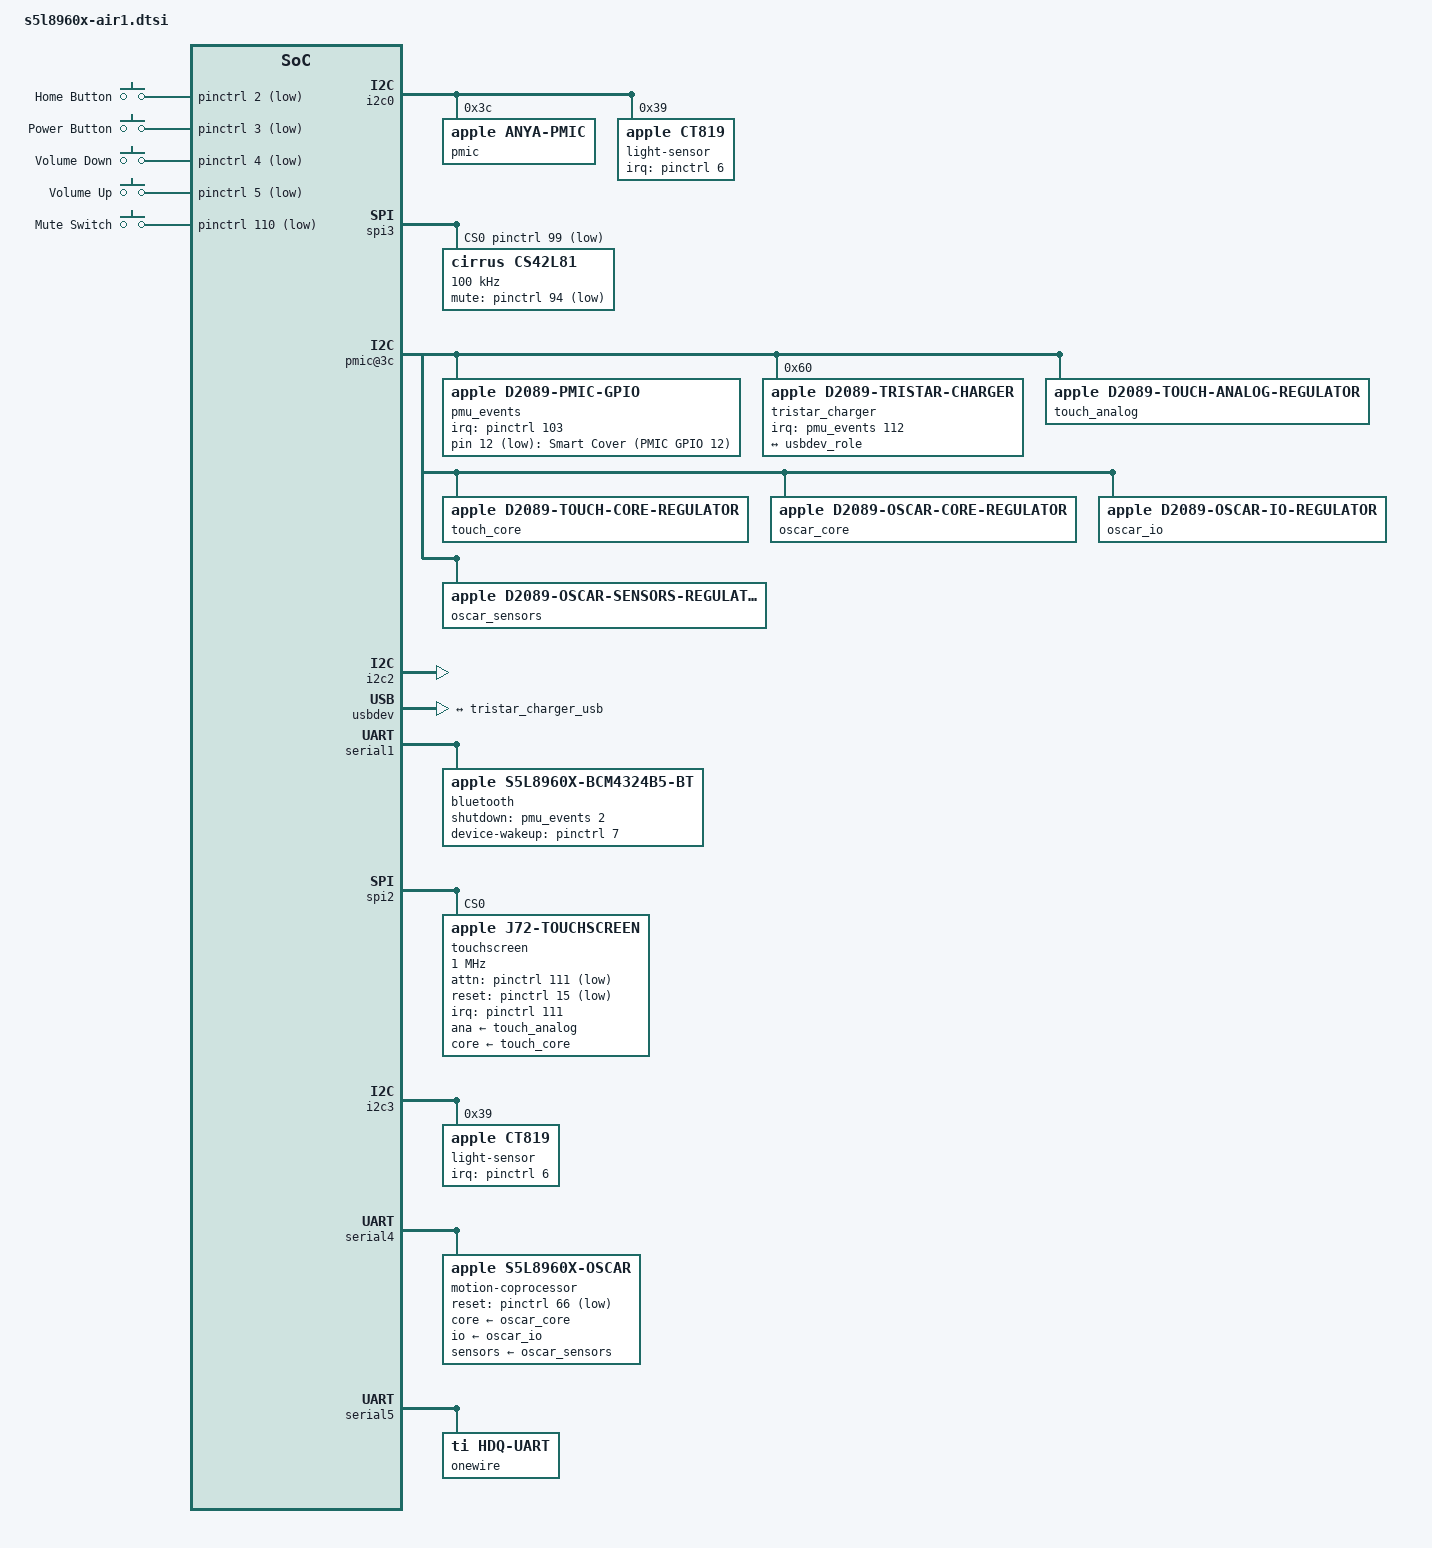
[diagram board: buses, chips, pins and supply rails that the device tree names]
// SPDX-License-Identifier: GPL-2.0+ OR MIT
/*
 * Apple iPad Air  common device tree
 * Based on A7 (APL5698), up to 1.4GHz
 *
 * Copyright (c) 2022, Konrad Dybcio <konradybcio@kernel.org>
 */

#include "s5l8960x.dtsi"
#include "s5l8960x-common.dtsi"
#include "s5l8965x-opp.dtsi"
#include <dt-bindings/input/input.h>

/ {
	chassis-type = "tablet";

	/*
	 * The speakers and the built-in microphones: the CS42L81 on SPI3
	 * (control) and MCA0 (data), as in Apple's /arm-io/spi3/audio-codec
	 * and /arm-io/mca0/audio-codec. The codec drives both speakers as one
	 * stereo pair. The two microphones are digital ones on the codec's
	 * DMIC1 pair: the audio-codec node names them dmic1a-intmic ("imic")
	 * and dmic1b-intmic ("smic"), the same in the J71 and J72 trees and
	 * the same pair the iPad 5 records from. Headphones (ADT hpout-hp,
	 * with the headset switches ext_sw1 and ext_sw2) are not described
	 * yet.
	 */
	sound {
		compatible = "simple-audio-card";
		simple-audio-card,name = "iPad Air Speakers";
		simple-audio-card,format = "i2s";
		simple-audio-card,bitclock-master = <&codec_dai>;
		simple-audio-card,frame-master = <&codec_dai>;
		simple-audio-card,widgets = "Speaker", "Speakers",
					    "Microphone", "Internal Mic";
		simple-audio-card,routing = "Speakers", "SPKOUT",
					    "DMIC1A", "Internal Mic",
					    "DMIC1B", "Internal Mic";
		simple-audio-card,pin-switches = "Speakers";

		simple-audio-card,cpu {
			sound-dai = <&mca0>;
		};

		codec_dai: simple-audio-card,codec {
			sound-dai = <&cs42l81>;
		};
	};

	gpio-keys {
		compatible = "gpio-keys";

		button-home {
			label = "Home Button";
			gpios = <&pinctrl 2 GPIO_ACTIVE_LOW>;
			linux,code = <KEY_HOMEPAGE>;
			wakeup-source;
		};

		button-power {
			label = "Power Button";
			gpios = <&pinctrl 3 GPIO_ACTIVE_LOW>;
			linux,code = <KEY_POWER>;
			wakeup-source;
		};

		button-voldown {
			label = "Volume Down";
			gpios = <&pinctrl 4 GPIO_ACTIVE_LOW>;
			linux,code = <KEY_VOLUMEDOWN>;
		};

		button-volup {
			label = "Volume Up";
			gpios = <&pinctrl 5 GPIO_ACTIVE_LOW>;
			linux,code = <KEY_VOLUMEUP>;
		};

		switch-mute {
			label = "Mute Switch";
			gpios = <&pinctrl 110 GPIO_ACTIVE_LOW>;
			linux,code = <KEY_MUTE>;
		};
	};

	/*
	 * Smart Cover hall sensors: D2089 GPIO 12 ("halleffect") and 10
	 * ("halleffect1") in the ADT /buttons node, the same lines as on the
	 * iPad Air 2. Line 12 is reported, active low as on the Air 2 and the
	 * iPad 6: on a J71 it reads low while the cover is closed and high
	 * while it is open. Reported as SW_MACHINE_COVER, not as a lid
	 * switch, so that closing the cover doesn't suspend the system.
	 * Polled: which PMU event a line raises is not established on the
	 * D2089, so the cover doesn't wake the system.
	 */
	smart-cover {
		compatible = "gpio-keys-polled";
		poll-interval = <50>;
		label = "iPad Smart Cover";

		cover-switch {
			label = "Smart Cover (PMIC GPIO 12)";
			gpios = <&pmu_events 12 GPIO_ACTIVE_LOW>;
			linux,input-type = <EV_SW>;
			linux,code = <SW_MACHINE_COVER>;
			debounce-interval = <50>;
		};
	};
};

&framebuffer0 {
	power-domains = <&ps_disp0 &ps_dp>;
};

&i2c0 {
	status = "okay";

	pmic@3c {
		compatible = "apple,anya-pmic", "apple,i2c-pmic";
		reg = <0x3c>;
		#address-cells = <1>;
		#size-cells = <1>;

		rtc@5c0 {
			compatible = "apple,anya-pmic-rtc", "apple,amber-pmic-rtc";
			reg = <0x5c0 0x10>;
			nvmem-cells = <&rtc_offset>;
			nvmem-cell-names = "rtc_offset";
		};

		backlight@600 {
			compatible = "apple,anya-pmic-bl";
			reg = <0x600 0x2>;
		};

		nvmem@4000 {
			compatible = "apple,pmic-nvmem";
			reg = <0x4000 0x28>;

			nvmem-layout {
				compatible = "fixed-layout";
				#address-cells = <1>;
				#size-cells = <1>;

				rtc_offset: rtc-offset@4 {
					reg = <0x4 0x4>;
				};
			};
		};
	};
};

&spi3 {
	/* ADT function-spi_cs0 */
	cs-gpios = <&pinctrl 99 GPIO_ACTIVE_LOW>;
	status = "okay";

	cs42l81: audio-codec@0 {
		compatible = "cirrus,cs42l81";
		reg = <0>;
		spi-max-frequency = <100000>;
		clocks = <&mca0>;
		clock-names = "mclk";
		/* ADT function-spkr_mute */
		mute-gpios = <&pinctrl 94 GPIO_ACTIVE_LOW>;
		cirrus,speaker-max-gain = <(-300)>;
		#sound-dai-cells = <0>;
	};
};

/*
 * Lightning charging, at the D2089's registers as iOS 12
 * AppleD2089PMUPowerSource uses them: connection and charger state at
 * 0x60, the input-current limit at 0x4c0, the ADC at 0x500.
 */
&{/soc/i2c@20a110000/pmic@3c} {
	/* The PMU event line, from the ADT pmu node: AP GPIO 103. */
	pmu_events: interrupt-controller {
		compatible = "apple,d2089-pmic-gpio";
		interrupt-controller;
		#interrupt-cells = <2>;
		interrupts-extended = <&pinctrl 103 IRQ_TYPE_LEVEL_LOW>;
		gpio-controller;
		#gpio-cells = <2>;
		/*
		 * Of the 17 lines only the Bluetooth power enable (2) and the
		 * Smart Cover hall sensors, 10 and 12, are exposed. The others
		 * stay as iBoot left them: the Wi-Fi reset (3, apple-a7-wlan
		 * owns it), the battery gauge (5) and, on the cellular boards,
		 * the baseband's (4, 8, 16), by Apple's device trees.
		 */
		gpio-reserved-ranges = <0 2>, <3 7>, <11 1>, <13 4>;
	};

	/*
	 * The ADT's charger node allows 0x960 = 2400 mA of input on every iPad Air.
	 * The maximum here is the highest input limit measured on an A7
	 * so far: 1500 mA (0x72) charged an iPad mini 2's battery at +958 mA
	 * from a Mac's CDP port, at 31 C. Before that, 1050 mA (0x4e)
	 * charged a J72's battery at +279 to +423 mA under the desktop, at
	 * 36 C, in thisiscamk's ten-minute run.
	 */
	tristar_charger: charger@60 {
		compatible = "apple,d2089-tristar-charger";
		reg = <0x60 0x0d>, <0x4c0 0x01>, <0x500 0x04>;
		reg-names = "status", "control", "adc";
		interrupt-parent = <&pmu_events>;
		/*
		 * The PMU line, ADC done and the D2089's plug event (event 0),
		 * which wakes the system when the source changes during sleep.
		 */
		interrupts = <112 IRQ_TYPE_EDGE_RISING>,
			     <89 IRQ_TYPE_EDGE_RISING>,
			     <0 IRQ_TYPE_EDGE_RISING>;
		apple,tristar = <&tristar>;
		input-current-limit-microamp = <1500000>;

		/* The charger decides when USB data may come on. */
		port {
			tristar_charger_usb: endpoint {
				remote-endpoint = <&usbdev_role>;
			};
		};
	};
};

&i2c2 {
	status = "okay";

	/* The Lightning port controller, from the ADT i2c2/tristar node. */
	tristar: port-controller@1a {
		compatible = "nxp,cbtl1610";
		reg = <0x1a>;
	};
};

/* Tell the Lightning charger what the USB host allows. */
&usbdev {
	usb-psy-name = "lightning";
	usb-role-switch;

	port {
		usbdev_role: endpoint {
			remote-endpoint = <&tristar_charger_usb>;
		};
	};
};

/ {
	/*
	 * The BCM43241 Wi-Fi radio on HSIC, where the device trees of
	 * the J71, J72 and J73 put it (/arm-io/usb-complex/usb-ehci0/wlan):
	 * EHCI0 root port 3, its HSIC PHY at usb-complex +0x50, HOST_READY
	 * on GPIO 163, DEVICE_READY on GPIO 164 and the reset on the D2089's
	 * GPIO3. apple-a7-wlan owns it.
	 */
	wifi@20c000050 {
		compatible = "apple,s5l8960x-hsic-wlan";
		reg = <0x2 0x0c000050 0x0 0x10>, <0x2 0x0c200000 0x0 0x10000>;
		reg-names = "phy", "ehci";
		interrupt-parent = <&aic>;
		interrupts = <AIC_IRQ 163 IRQ_TYPE_LEVEL_HIGH>;
		power-domains = <&ps_hsic1_phy>;
		apple,ehci-port = <3>;
		host-ready-gpios = <&pinctrl 163 GPIO_ACTIVE_HIGH>;
		device-ready-gpios = <&pinctrl 164 GPIO_ACTIVE_HIGH>;
	};
};


/*
 * The BCM4324B5's Bluetooth on UART1, from the bluetooth node below
 * /arm-io/uart1 in the J71, J72 and J73 device trees, which agree:
 * power enable on the D2089's GPIO 2, BT_WAKE on AP GPIO 7, H4 at a
 * transport-speed of 3 Mbit/s. The controller starts at 115,200 baud,
 * where the Patchram loads; hci_bcm then switches the link to 1.5 Mbit/s,
 * the fastest the A7 UART reaches exactly from its 24 MHz reference with
 * 16x oversampling. The ADT names no host wake line; the D2089's PMU
 * event 7 is named "bluetooth" and is not used.
 * m1n1 adds the device address through the bluetooth0 alias.
 */
/ {
	aliases {
		bluetooth0 = &bluetooth;
		serial1 = &serial1;
		serial5 = &serial5;
	};
};

&serial1 {
	pinctrl-0 = <&uart1_pins>;
	pinctrl-names = "default";
	uart-has-rtscts;
	status = "okay";

	bluetooth: bluetooth {
		compatible = "apple,s5l8960x-bcm4324b5-bt";
		current-speed = <115200>;
		max-speed = <1500000>;
		shutdown-gpios = <&pmu_events 2 GPIO_ACTIVE_HIGH>;
		device-wakeup-gpios = <&pinctrl 7 GPIO_ACTIVE_HIGH>;
	};
};

/*
 * The touchscreen: an N1 on SPI2, the same in the J71, J72 and J73 device
 * trees (/arm-io/spi2/multi-touch, multi-touch,j72): attention on GPIO 111,
 * reset on GPIO 15, display sync on pin 119, the D2089's analog and core
 * supplies. All three ship the same J72.mtprops, so the firmware is the
 * j72 one on each. The loader adds the unit's calibration through the
 * touchscreen0 alias.
 */
/ {
	aliases {
		touchscreen0 = &touchscreen; /* Used by loader */
	};
};

&pinctrl {
	spi2_sleep_pins: spi2-sleep-pins {
		pinmux = <APPLE_PINMUX(79, 0)>;
	};

	touch_sync_active: touch-sync-active-pins {
		pinmux = <APPLE_PINMUX(119, 1)>;
	};

	touch_sync_inactive: touch-sync-inactive-pins {
		pinmux = <APPLE_PINMUX(119, 0)>;
	};
};

&{/soc/i2c@20a110000/pmic@3c} {
	touch_analog: regulator-touch-analog {
		compatible = "apple,d2089-touch-analog-regulator";
		regulator-name = "touch-analog";
	};

	touch_core: regulator-touch-core {
		compatible = "apple,d2089-touch-core-regulator";
		regulator-name = "touch-core";
	};
};

&touchclk {
	status = "okay";
};

&spi2 {
	pinctrl-names = "default", "sleep";
	pinctrl-1 = <&spi2_sleep_pins>;
	status = "okay";

	touchscreen: touchscreen@0 {
		compatible = "apple,j72-touchscreen";
		reg = <0>;
		spi-max-frequency = <1000000>;
		interrupt-parent = <&pinctrl>;
		interrupts = <111 IRQ_TYPE_EDGE_FALLING>;
		attn-gpios = <&pinctrl 111 GPIO_ACTIVE_LOW>;
		reset-gpios = <&pinctrl 15 GPIO_ACTIVE_LOW>;
		clocks = <&touchclk>;
		ana-supply = <&touch_analog>;
		core-supply = <&touch_core>;
		pinctrl-names = "display-sync-active", "display-sync-inactive";
		pinctrl-0 = <&touch_sync_active>;
		pinctrl-1 = <&touch_sync_inactive>;
		touchscreen-size-x = <14621>;
		touchscreen-size-y = <19539>;
		touchscreen-inverted-y;
		firmware-name = "apple/j72-fwstart.z2fw";
		/* apple,z2-cal-blob: the unit's calibration, filled in by the loader */
	};
};

/*
 * The ambient light sensor: a CT819 at 0x39, on i2c0 or on i2c3. Apple's
 * device trees of the J71, J72 and J73 carry both (i2c0/als-i2c0 and
 * i2c3/als-i2c3, each with a proximity sensor beside it, interrupt
 * GPIO 6) and iOS probes for the one fitted, so both are described: the
 * absent one fails its chip ID read. Their alsCalibration is zero-filled,
 * with no SysCfg reference, so the sensor reports uncalibrated lux and has
 * no als0 alias for the loader.
 */
&i2c0 {
	light-sensor@39 {
		compatible = "apple,ct819", "amstaos,tsl2581";
		reg = <0x39>;
		interrupts-extended = <&pinctrl 6 IRQ_TYPE_LEVEL_LOW>;
	};
};

&i2c3 {
	status = "okay";

	light-sensor@39 {
		compatible = "apple,ct819", "amstaos,tsl2581";
		reg = <0x39>;
		interrupts-extended = <&pinctrl 6 IRQ_TYPE_LEVEL_LOW>;
	};
};

/*
 * The M7 motion coprocessor on UART4 (Apple's /arm-io/uart4/oscar, the same
 * on every A7 iPad), with the accelerometer, gyroscope and compass behind
 * it. Its supplies are D2089 switches (ADT oscar_power1, oscar_power2 and
 * sensor_power) and its reset is AP GPIO 66, active low (ADT flags 0x1;
 * seen on the J71).
 */
&{/soc/i2c@20a110000/pmic@3c} {
	oscar_core: regulator-oscar-core {
		compatible = "apple,d2089-oscar-core-regulator";
		regulator-name = "oscar-core";
	};

	oscar_io: regulator-oscar-io {
		compatible = "apple,d2089-oscar-io-regulator";
		regulator-name = "oscar-io";
	};

	oscar_sensors: regulator-oscar-sensors {
		compatible = "apple,d2089-oscar-sensors-regulator";
		regulator-name = "oscar-sensors";
	};
};

&serial4 {
	status = "okay";
	pinctrl-0 = <&uart4_pins>;
	pinctrl-names = "default";

	motion-coprocessor {
		compatible = "apple,s5l8960x-oscar";
		core-supply = <&oscar_core>;
		io-supply = <&oscar_io>;
		sensors-supply = <&oscar_sensors>;
		reset-gpios = <&pinctrl 66 GPIO_ACTIVE_LOW>;
		/*
		 * Measured on a J71: flat screen up z = +1 g, upright (Home
		 * down) y = -1 g, landscape with Home on the right x = -1 g
		 * and with Home on the left x = +1 g. So +x points to the left
		 * edge, +y to the Home end and +z out of the screen. That is
		 * already iio-sensor-proxy's frame: with this matrix Omarchy A
		 * rotates correctly in all four orientations. The gyroscope
		 * has the same axes: a positive rate is a right-hand turn
		 * about the accelerometer's own axis, on all three.
		 */
		mount-matrix = "1", "0", "0",
			       "0", "1", "0",
			       "0", "0", "1";
	};
};

/*
 * The battery gauge on UART5's HDQ line: a BQ27540 by Apple's device tree
 * (/arm-io/uart5/gas-gauge), the same on every A7 iPad. It runs the gauge
 * firmware profile measured on the J72.
 */
&serial5 {
	status = "okay";

	onewire {
		compatible = "ti,hdq-uart";

		fuel-gauge {
			compatible = "apple,j72-bq27545", "ti,bq27545-hdq";
		};
	};
};

/* The boot loader set up the display; nothing restores it after power loss. */
&ps_disp0 {
	apple,always-on;
	apple,manual-pm;
};

&ps_dp {
	apple,always-on;
	apple,manual-pm;
};
